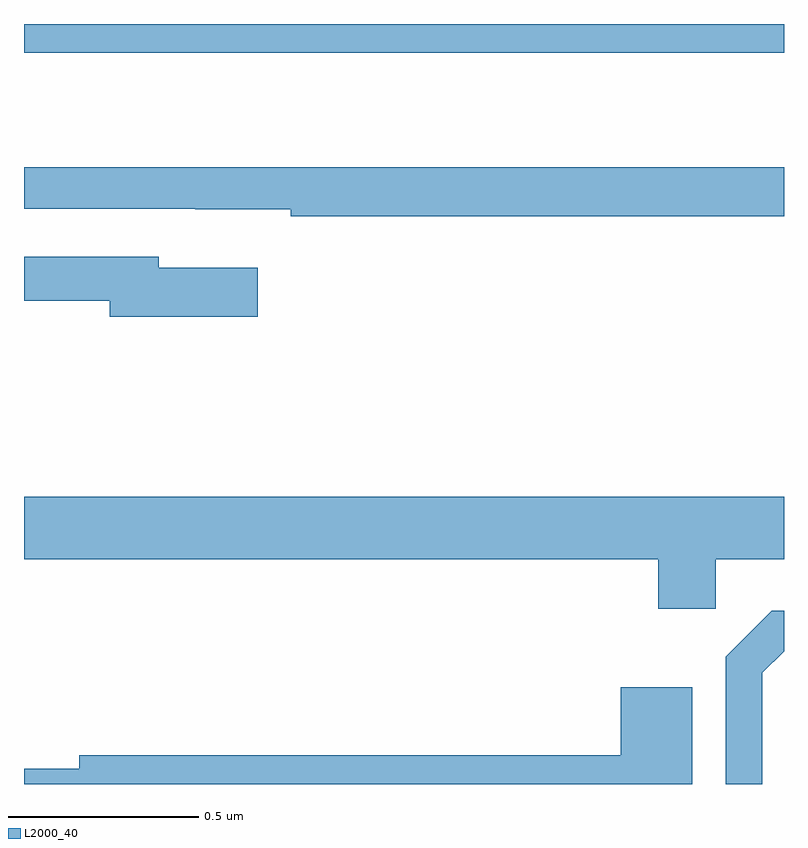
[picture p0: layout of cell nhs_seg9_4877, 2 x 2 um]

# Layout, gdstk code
import gdstk
lib = gdstk.Library(unit=1e-6, precision=1e-09)
def R(c, l, rs):  # rectangles x0, y0, x1, y1
    for r in rs: c.add(gdstk.rectangle(r[:2], r[2:], *l))
def P(c, l, *ps):  # polygons
    for p in ps: c.add(gdstk.Polygon(p, *l))
L2000_40 = (2000, 40)

nhs_seg9_4877 = lib.new_cell('nhs_seg9_4877')
R(nhs_seg9_4877, L2000_40, [(172,1192.424,174,1192.5)])
P(nhs_seg9_4877, L2000_40, [(174,1192.123),(172,1192.123),(172,1192.014),(172.45,1192.014),(172.45,1192.013),(172.702,1192.013),(172.702,1191.994),(174,1191.994)],
  [(172.615,1191.859),(172.354,1191.859),(172.354,1191.888),(172,1191.888),(172,1191.772),(172.226,1191.772),(172.226,1191.73),(172.615,1191.73)],
  [(173.82,1191.092),(174,1191.092),(174,1191.256),(172,1191.256),(172,1191.092),(173.669,1191.092),(173.669,1190.961),(173.82,1190.961)],
  [(173.943,1190.793),(174,1190.85),(174,1190.956),(173.968,1190.956),(173.847,1190.835),(173.847,1190.5),(173.943,1190.5)],
  [(173.758,1190.755),(173.571,1190.755),(173.571,1190.576),(172.145,1190.576),(172.145,1190.54),(172,1190.54),(172,1190.5),(173.758,1190.5)])

lib.write_gds('nhs_seg9_4877.gds')
